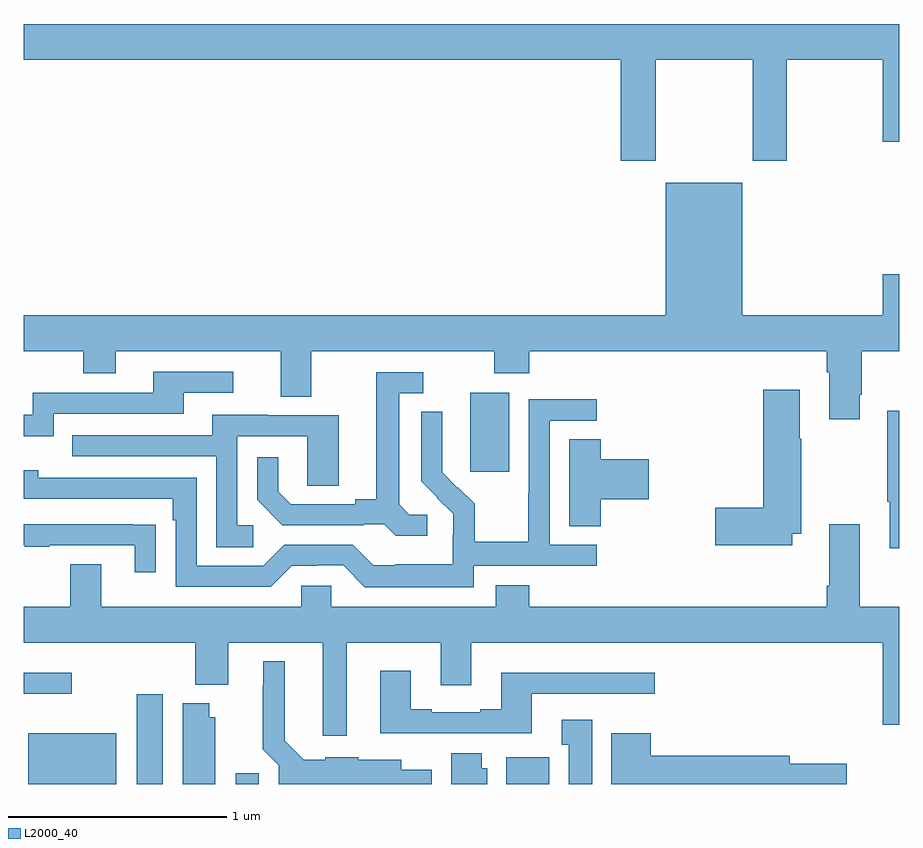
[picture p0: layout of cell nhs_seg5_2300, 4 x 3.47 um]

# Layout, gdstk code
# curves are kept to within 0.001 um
import gdstk
lib = gdstk.Library(unit=1e-6, precision=1e-09)
def R(c, l, rs):  # rectangles x0, y0, x1, y1
    for r in rs: c.add(gdstk.rectangle(r[:2], r[2:], *l))
def P(c, l, *ps):  # polygons
    for p in ps: c.add(gdstk.Polygon(p, *l))
L2000_40 = (2000, 40)

nhs_seg5_2300 = lib.new_cell('nhs_seg5_2300')
R(nhs_seg5_2300, L2000_40, [(245.021,838.799,245.422,839.032), (245.516,838.799,245.635,839.209), (245.969,838.799,246.073,838.849), (247.205,838.799,247.401,838.921), (245,839.211,245.218,839.308), (247.04,840.225,247.219,840.586)])
P(nhs_seg5_2300, L2000_40, [(247.887,842.108),(248.332,842.108),(248.332,841.647),(248.487,841.647),(248.487,842.108),(248.924,842.108),(248.924,841.734),(249,841.734),(249,842.272),(245,842.272),(245,842.108),(247.727,842.108),(247.727,841.647),(247.887,841.647)],
  [(248.821,840.577),(248.829,840.577),(248.829,840.776),(249,840.776),(249,841.129),(248.924,841.129),(248.924,840.94),(248.284,840.94),(248.284,841.546),(247.934,841.546),(247.934,840.94),(245,840.94),(245,840.776),(245.272,840.776),(245.272,840.677),(245.419,840.677),(245.419,840.776),(246.173,840.776),(246.173,840.568),(246.313,840.568),(246.313,840.776),(247.15,840.776),(247.15,840.677),(247.31,840.677),(247.31,840.776),(248.669,840.776),(248.669,840.68),(248.681,840.68),(248.681,840.465),(248.821,840.465)],
  [(245.136,840.492),(245.731,840.492),(245.731,840.588),(245.956,840.588),(245.956,840.684),(245.591,840.684),(245.591,840.588),(245.04,840.588),(245.04,840.486),(245,840.486),(245,840.389),(245.136,840.389)],
  [(246.844,840.03),(246.762,840.03),(246.715,840.077),(246.715,840.585),(246.826,840.585),(246.826,840.681),(246.611,840.681),(246.611,840.101),(246.515,840.101),(246.515,840.078),(246.22,840.078),(246.163,840.135),(246.163,840.292),(246.066,840.292),(246.066,840.098),(246.182,839.982),(246.554,839.982),(246.554,839.985),(246.648,839.985),(246.7,839.933),(246.844,839.933)],
  [(248.512,839.942),(248.553,839.942),(248.553,840.377),(248.545,840.377),(248.545,840.601),(248.378,840.601),(248.378,840.062),(248.16,840.062),(248.16,839.891),(248.512,839.891)],
  [(247.056,839.796),(247.618,839.796),(247.618,839.892),(247.404,839.892),(247.404,840.459),(247.618,840.459),(247.618,840.558),(247.308,840.558),(247.308,840.128),(247.306,840.128),(247.306,839.905),(247.061,839.905),(247.061,840.079),(246.984,840.156),(246.981,840.153),(246.911,840.224),(246.912,840.5),(246.816,840.5),(246.816,840.182),(246.962,840.034),(246.962,839.937),(246.96,839.937),(246.96,839.803),(246.697,839.803),(246.697,839.799),(246.597,839.799),(246.504,839.892),(246.189,839.892),(246.093,839.796),(245.79,839.796),(245.79,840.198),(245.066,840.198),(245.066,840.232),(245,840.232),(245,840.102),(245.681,840.102),(245.681,840.005),(245.694,840.005),(245.694,839.7),(246.129,839.7),(246.225,839.796),(246.344,839.796),(246.344,839.799),(246.459,839.799),(246.559,839.699),(247.056,839.699)],
  [(249,840.505),(248.946,840.505),(248.946,840.089),(248.957,840.089),(248.957,839.877),(249,839.877)],
  [(246.049,839.982),(245.976,839.982),(245.976,840.387),(246.294,840.387),(246.294,840.163),(246.439,840.163),(246.439,840.483),(246.115,840.483),(246.115,840.487),(245.861,840.487),(245.861,840.393),(245.221,840.393),(245.221,840.297),(245.88,840.297),(245.88,839.881),(246.049,839.881)],
  [(247.637,840.101),(247.855,840.101),(247.855,840.284),(247.637,840.284),(247.637,840.374),(247.493,840.374),(247.493,839.977),(247.637,839.977)],
  [(246.475,839.444),(246.905,839.444),(246.905,839.25),(247.045,839.25),(247.045,839.444),(248.924,839.444),(248.924,839.07),(249,839.07),(249,839.608),(248.821,839.608),(248.821,839.986),(248.681,839.986),(248.681,839.704),(248.669,839.704),(248.669,839.608),(247.31,839.608),(247.31,839.707),(247.157,839.707),(247.157,839.608),(246.405,839.608),(246.405,839.706),(246.267,839.706),(246.267,839.608),(245.353,839.608),(245.353,839.803),(245.213,839.803),(245.213,839.608),(245,839.608),(245,839.444),(245.783,839.444),(245.783,839.252),(245.935,839.252),(245.935,839.444),(246.365,839.444),(246.365,839.019),(246.475,839.019)],
  [(245.603,839.984),(245.501,839.984),(245.501,839.985),(245,839.985),(245,839.889),(245.005,839.889),(245.005,839.884),(245.117,839.884),(245.117,839.889),(245.507,839.889),(245.507,839.766),(245.603,839.766)],
  [(246.865,838.864),(246.724,838.864),(246.724,838.909),(246.528,838.909),(246.528,838.921),(246.378,838.921),(246.378,838.909),(246.279,838.909),(246.193,838.996),(246.193,839.359),(246.095,839.359),(246.095,839.249),(246.091,839.249),(246.091,838.958),(246.165,838.884),(246.165,838.799),(246.865,838.799)],
  [(247.321,839.211),(247.882,839.211),(247.882,839.308),(247.181,839.308),(247.181,839.14),(247.085,839.14),(247.085,839.127),(246.865,839.127),(246.865,839.14),(246.769,839.14),(246.769,839.317),(246.629,839.317),(246.629,839.031),(247.321,839.031)],
  [(245.875,839.103),(245.848,839.103),(245.848,839.167),(245.726,839.167),(245.726,838.799),(245.875,838.799)],
  [(247.597,839.092),(247.457,839.092),(247.457,838.979),(247.49,838.979),(247.49,838.799),(247.597,838.799)],
  [(248.761,838.892),(248.5,838.892),(248.5,838.928),(247.864,838.928),(247.864,839.032),(247.685,839.032),(247.685,838.799),(248.761,838.799)],
  [(247.117,838.872),(247.093,838.872),(247.093,838.939),(246.953,838.939),(246.953,838.799),(247.117,838.799)])

lib.write_gds('nhs_seg5_2300.gds')
